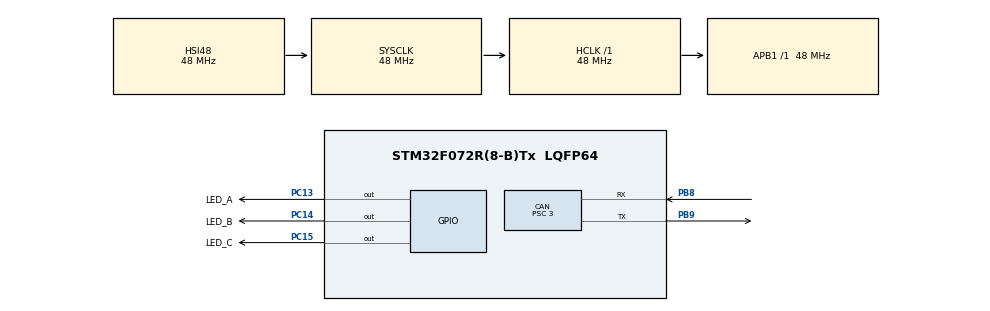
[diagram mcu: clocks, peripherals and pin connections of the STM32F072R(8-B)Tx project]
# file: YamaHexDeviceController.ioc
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CAN.BS1=CAN_BS1_11TQ
CAN.BS2=CAN_BS2_4TQ
CAN.CalculateBaudRate=1000000
CAN.CalculateTimeBit=1000
CAN.CalculateTimeQuantum=62.5
CAN.Prescaler=3
Mcu.Family=STM32F0
Mcu.Name=STM32F072R(8-B)Tx
Mcu.Package=LQFP64
NVIC.CEC_CAN_IRQn=true\:0\:0\:false\:false\:true\:true\:true\:true
PA13.Mode=Serial_Wire
PA13.Signal=SYS_SWDIO
PA14.Mode=Serial_Wire
PA14.Signal=SYS_SWCLK
PB8.Mode=CAN_Activate
PB8.Signal=CAN_RX
PB9.Mode=CAN_Activate
PB9.Signal=CAN_TX
PC13.GPIO_Label=LED_A
PC13.Signal=GPIO_Output
PC14-OSC32_IN.GPIO_Label=LED_B
PC14-OSC32_IN.Signal=GPIO_Output
PC15-OSC32_OUT.GPIO_Label=LED_C
PC15-OSC32_OUT.Signal=GPIO_Output
ProjectManager.HeapSize=0x200
ProjectManager.StackSize=0x400
ProjectManager.TargetToolchain=CMake
RCC.AHBFreq_Value=48000000
RCC.APB1Freq_Value=48000000
RCC.APB1TimFreq_Value=48000000
RCC.HCLKFreq_Value=48000000
RCC.SYSCLKFreq_VALUE=48000000
RCC.SYSCLKSource=RCC_SYSCLKSOURCE_HSI48
board=custom

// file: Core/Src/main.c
/* USER CODE BEGIN Header */
/**
  ******************************************************************************
  * @file           : main.c
  * @brief          : Main program body
  ******************************************************************************
  * @attention
  *
  * Copyright (c) 2026 STMicroelectronics.
  * All rights reserved.
  *
  * This software is licensed under terms that can be found in the LICENSE file
  * in the root directory of this software component.
  * If no LICENSE file comes with this software, it is provided AS-IS.
  *
  ******************************************************************************
  */
/* USER CODE END Header */
#include "main.h"
#include "can.h"
#include "gpio.h"

/* USER CODE BEGIN Includes */
#include <stdbool.h>
/* USER CODE END Includes */

void SystemClock_Config(void);

/* USER CODE BEGIN 0 */
CAN_RxHeaderTypeDef RxHeader;
CAN_FilterTypeDef RxFilter;
CAN_TxHeaderTypeDef TxHeader;
uint32_t TxMailbox;
uint8_t RxData[8];
bool RxFlag;
/* USER CODE END 0 */

void initCAN(){}

bool sendPacket(){}

int main(void)
{

  /* MCU Configuration--------------------------------------------------------*/

  /* Reset of all peripherals, Initializes the Flash interface and the Systick. */
  HAL_Init();

  /* Configure the system clock */
  SystemClock_Config();

  /* Initialize all configured peripherals */
  MX_GPIO_Init();
  MX_CAN_Init();
  /* USER CODE BEGIN 2 */
  RxFilter.FilterIdHigh = 0;
  RxFilter.FilterIdLow = 0;
  RxFilter.FilterMaskIdHigh = 0;
  RxFilter.FilterMaskIdLow = 0;
  RxFilter.FilterScale = CAN_FILTERSCALE_32BIT;
  RxFilter.FilterBank = 0;
  RxFilter.FilterMode = CAN_FILTERMODE_IDMASK;
  RxFilter.SlaveStartFilterBank = 14;
  RxFilter.FilterActivation = ENABLE;

  HAL_CAN_Start(&hcan);
  HAL_CAN_ConfigFilter(&hcan,&RxFilter);
  HAL_CAN_ActivateNotification(&hcan,CAN_IT_RX_FIFO0_MSG_PENDING);
  /* USER CODE END 2 */

  /* Infinite loop */
  while (1)
  {

  }
}

void SystemClock_Config(void)
{
  RCC_OscInitTypeDef RCC_OscInitStruct = {0};
  RCC_ClkInitTypeDef RCC_ClkInitStruct = {0};

  /** Initializes the RCC Oscillators according to the specified parameters
  * in the RCC_OscInitTypeDef structure.
  */
  RCC_OscInitStruct.OscillatorType = RCC_OSCILLATORTYPE_HSI48;
  RCC_OscInitStruct.HSI48State = RCC_HSI48_ON;
  RCC_OscInitStruct.PLL.PLLState = RCC_PLL_NONE;
  if (HAL_RCC_OscConfig(&RCC_OscInitStruct) != HAL_OK)
  {
    Error_Handler();
  }

  /** Initializes the CPU, AHB and APB buses clocks
  */
  RCC_ClkInitStruct.ClockType = RCC_CLOCKTYPE_HCLK|RCC_CLOCKTYPE_SYSCLK
                              |RCC_CLOCKTYPE_PCLK1;
  RCC_ClkInitStruct.SYSCLKSource = RCC_SYSCLKSOURCE_HSI48;
  RCC_ClkInitStruct.AHBCLKDivider = RCC_SYSCLK_DIV1;
  RCC_ClkInitStruct.APB1CLKDivider = RCC_HCLK_DIV1;

  if (HAL_RCC_ClockConfig(&RCC_ClkInitStruct, FLASH_LATENCY_1) != HAL_OK)
  {
    Error_Handler();
  }
}

/* USER CODE BEGIN 4 */
void HAL_CAN_RxFifo0MsgPendingCallback(CAN_HandleTypeDef *hcan)
{
  if (HAL_CAN_GetRXMessage(hcan,CAN_RX_FIFO0,&RxHeader,RxData) == HAL_OK)
  {
    classifyData(RxHeader,StdId,RxData,RxHeader.DLC);
  }

}
/* USER CODE END 4 */

void Error_Handler(void)
{
  __disable_irq();
  while (1)
  {
  }
}
